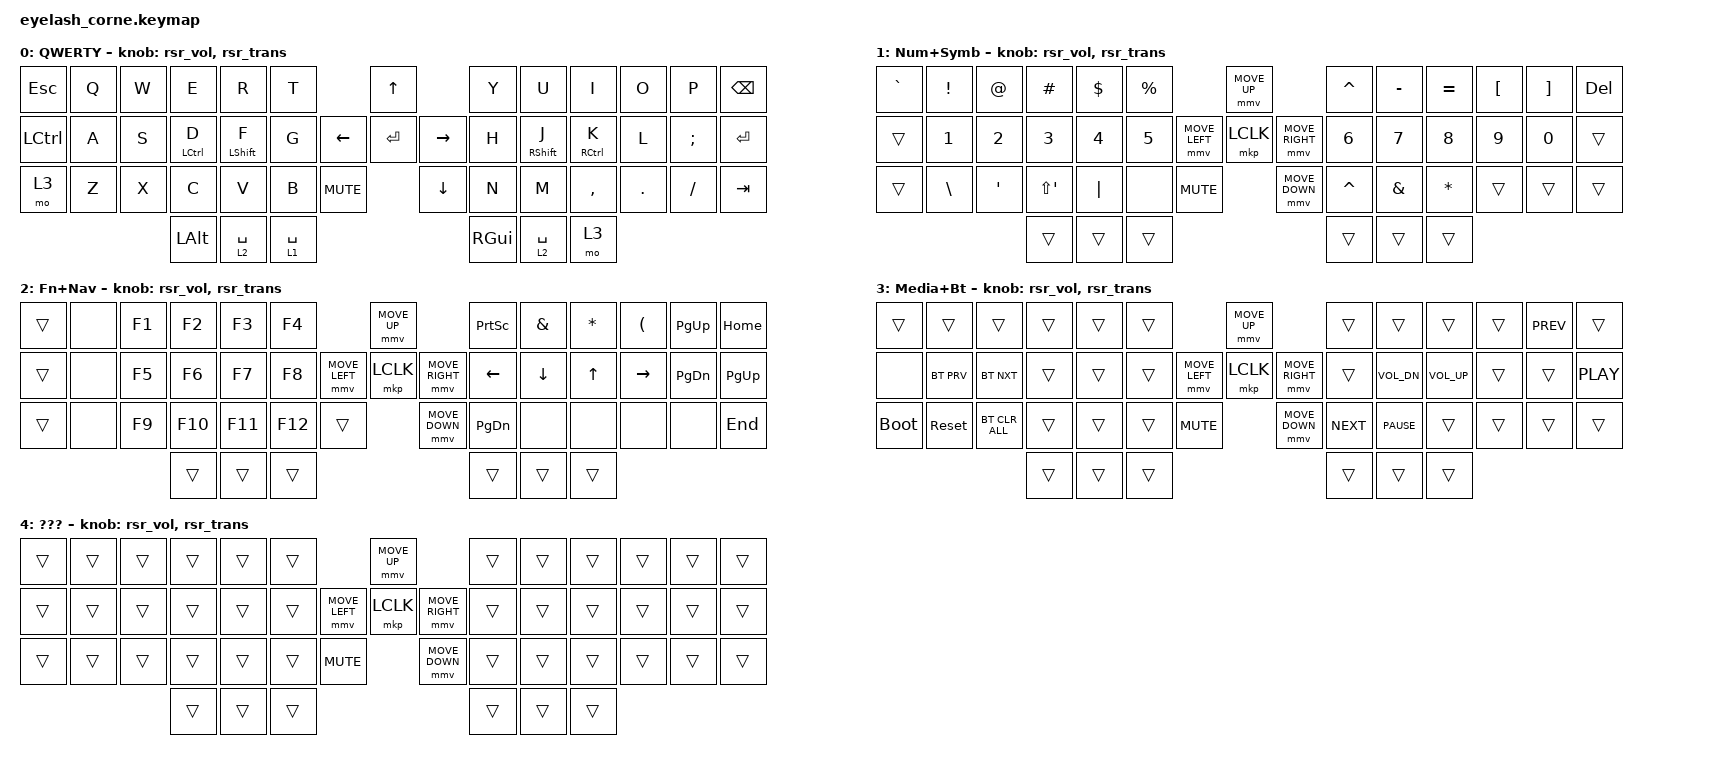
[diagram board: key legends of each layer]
#define ZMK_POINTING_DEFAULT_MOVE_VAL 1200  // 600
#define ZMK_POINTING_DEFAULT_SCRL_VAL 25   // 10

#include <input/processors.dtsi>
#include <zephyr/dt-bindings/input/input-event-codes.h>
#include <behaviors.dtsi>
#include <behaviors/runtime-sensor-rotate.dtsi>
#include <dt-bindings/zmk/bt.h>
#include <dt-bindings/zmk/keys.h>
#include <dt-bindings/zmk/pointing.h>
#include <dt-bindings/zmk/rgb.h>

&soft_off { hold-time-ms = <2000>; };
&mt { flavor = "tap-preferred"; }; 

/ {
    behaviors {
        td0: td0 {
            compatible = "zmk,behavior-tap-dance";
            display-name = "Shift/Caps Lock Tap Dance";
            #binding-cells = <0>;
            bindings = <&kp LEFT_SHIFT>, <&kp CAPS>;
        };

        rsr_vol: rsr_vol {
            compatible = "zmk,behavior-runtime-sensor-rotate";
            #sensor-binding-cells = <0>;
            tap-ms = <5>;
            cw-binding = <&kp C_VOL_UP>;
            ccw-binding = <&kp C_VOL_DN>;
        };

        rsr_trans: rsr_trans {
            compatible = "zmk,behavior-runtime-sensor-rotate";
            #sensor-binding-cells = <0>;
            tap-ms = <0>;
        };
    };

   combos {
        compatible = "zmk,combos";

        bracket_left {
            bindings = <&kp LEFT_BRACE>;
            key-positions = <15 16>;
        };

        bracket_right {
            bindings = <&kp RIGHT_BRACE>;
            key-positions = <16 17>;
        };

        parenthisis_left {
            bindings = <&kp LEFT_PARENTHESIS>;
            key-positions = <23 24>;
        };

        parenthisis_right {
            bindings = <&kp RIGHT_PARENTHESIS>;
            key-positions = <24 25>;
        };

        less_then_left {
            bindings = <&kp LESS_THAN>;
            key-positions = <37 38>;
        };

        less_then_right {
            bindings = <&kp GREATER_THAN>;
            key-positions = <38 39>;
        };

        brace_left {
            bindings = <&kp LEFT_BRACKET>;
            key-positions = <29 30>;
        };

        brace_right {
            bindings = <&kp RIGHT_BRACKET>;
            key-positions = <30 31>;
        };
    };

    keymap {
        compatible = "zmk,keymap";

        default_layer {
            display-name = "QWERTY";
            bindings = <
&kp ESCAPE        &kp Q  &kp W  &kp E               &kp R             &kp T                                &kp UP                &kp Y          &kp U              &kp I                &kp O    &kp P     &kp BSPC
&kp LEFT_CONTROL  &kp A  &kp S  &mt LEFT_CONTROL D  &mt LEFT_SHIFT F  &kp G                      &kp LEFT  &kp ENTER  &kp RIGHT  &kp H          &mt RIGHT_SHIFT J  &mt RIGHT_CONTROL K  &kp L    &kp SEMI  &kp ENTER
&mo 3             &kp Z  &kp X  &kp C               &kp V             &kp B        &kp C_MUTE              &kp DOWN              &kp N          &kp M              &kp COMMA            &kp DOT  &kp FSLH  &kp TAB
                                &kp LEFT_ALT        &lt 2 SPACE       &lt 1 SPACE                                                &kp RIGHT_GUI  &lt 2 SPACE        &mo 3
            >;

            sensor-bindings = <&rsr_vol &rsr_trans>;
        };

        lower_layer {
            display-name = "Num+Symb";
            bindings = <
&kp GRAVE  &kp EXCLAMATION  &kp AT_SIGN   &kp HASH              &kp DOLLAR    &kp PERCENT                                &mmv MOVE_UP                     &kp CARET     &kp MINUS      &kp EQUAL     &kp LEFT_BRACKET  &kp RIGHT_BRACKET  &kp DEL
&trans     &kp NUMBER_1     &kp NUMBER_2  &kp NUMBER_3          &kp NUMBER_4  &kp N5                     &mmv MOVE_LEFT  &mkp LCLK       &mmv MOVE_RIGHT  &kp NUMBER_6  &kp N7         &kp N8        &kp N9            &kp N0             &trans
&trans     &kp BACKSLASH    &kp SQT       &kp LS(SINGLE_QUOTE)  &kp PIPE      &none        &kp C_MUTE                    &mmv MOVE_DOWN                   &kp CARET     &kp AMPERSAND  &kp ASTERISK  &trans            &trans             &trans
                                          &trans                &trans        &trans                                                                      &trans        &trans         &trans
            >;

            sensor-bindings = <&rsr_vol &rsr_trans>;
        };

        raise_layer {
            display-name = "Fn+Nav";
            bindings = <
&trans  &none  &kp F1  &kp F2   &kp F3   &kp F4                             &mmv MOVE_UP                     &kp PRINTSCREEN  &kp AMPS  &kp ASTRK     &kp LPAR   &kp PAGE_UP    &kp HOME
&trans  &none  &kp F5  &kp F6   &kp F7   &kp F8             &mmv MOVE_LEFT  &mkp LCLK       &mmv MOVE_RIGHT  &kp LEFT         &kp DOWN  &kp UP_ARROW  &kp RIGHT  &kp PAGE_DOWN  &kp PAGE_UP
&trans  &none  &kp F9  &kp F10  &kp F11  &kp F12  &trans                    &mmv MOVE_DOWN                   &kp PAGE_DOWN    &none     &none         &none      &none          &kp END
                       &trans   &trans   &trans                                                              &trans           &trans    &trans
            >;

            sensor-bindings = <&rsr_vol &rsr_trans>;
        };

        layer_3 {
            display-name = "Media+Bt";
            bindings = <
&trans       &trans      &trans          &trans  &trans  &trans                                &mmv MOVE_UP                     &trans      &trans        &trans        &trans  &kp C_PREV  &trans
&none        &bt BT_PRV  &bt BT_NXT      &trans  &trans  &trans                &mmv MOVE_LEFT  &mkp LCLK       &mmv MOVE_RIGHT  &trans      &kp C_VOL_DN  &kp C_VOL_UP  &trans  &trans      &kp C_PLAY
&bootloader  &sys_reset  &bt BT_CLR_ALL  &trans  &trans  &trans  &kp C_MUTE                    &mmv MOVE_DOWN                   &kp C_NEXT  &kp C_PAUSE   &trans        &trans  &trans      &trans
                                         &trans  &trans  &trans                                                                 &trans      &trans        &trans
            >;

            sensor-bindings = <&rsr_vol &rsr_trans>;
        };

        layer_4 {
            display-name = "???";
            bindings = <
&trans  &trans  &trans  &trans  &trans  &trans                                &mmv MOVE_UP                     &trans  &trans  &trans  &trans  &trans  &trans
&trans  &trans  &trans  &trans  &trans  &trans                &mmv MOVE_LEFT  &mkp LCLK       &mmv MOVE_RIGHT  &trans  &trans  &trans  &trans  &trans  &trans
&trans  &trans  &trans  &trans  &trans  &trans  &kp C_MUTE                    &mmv MOVE_DOWN                   &trans  &trans  &trans  &trans  &trans  &trans
                        &trans  &trans  &trans                                                                 &trans  &trans  &trans
            >;

            sensor-bindings = <&rsr_vol &rsr_trans>;
        };
    };
};
